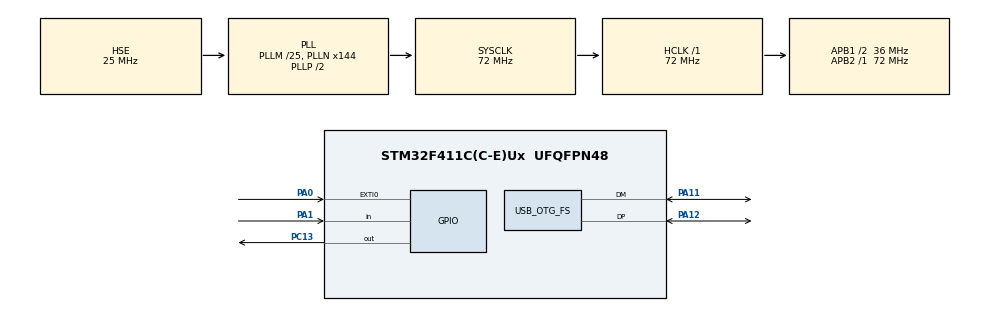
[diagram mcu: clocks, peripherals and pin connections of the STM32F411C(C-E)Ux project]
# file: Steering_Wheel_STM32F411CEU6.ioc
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Mcu.Family=STM32F4
Mcu.Name=STM32F411C(C-E)Ux
Mcu.Package=UFQFPN48
NVIC.EXTI0_IRQn=true\:0\:0\:false\:false\:true\:true\:true\:true
NVIC.OTG_FS_IRQn=true\:0\:0\:false\:false\:true\:false\:true\:true
NVIC.PriorityGroup=NVIC_PRIORITYGROUP_4
PA0-WKUP.GPIO_ModeDefaultEXTI=GPIO_MODE_IT_FALLING
PA0-WKUP.GPIO_PuPd=GPIO_PULLUP
PA0-WKUP.Signal=GPXTI0
PA1.GPIO_PuPd=GPIO_PULLUP
PA1.Signal=GPIO_Input
PA11.Mode=Device_Only
PA11.Signal=USB_OTG_FS_DM
PA12.Mode=Device_Only
PA12.Signal=USB_OTG_FS_DP
PC13-ANTI_TAMP.GPIO_PuPd=GPIO_PULLUP
PC13-ANTI_TAMP.PinState=GPIO_PIN_SET
PC13-ANTI_TAMP.Signal=GPIO_Output
PH0\ -\ OSC_IN.Mode=HSE-External-Oscillator
PH0\ -\ OSC_IN.Signal=RCC_OSC_IN
PH1\ -\ OSC_OUT.Mode=HSE-External-Oscillator
PH1\ -\ OSC_OUT.Signal=RCC_OSC_OUT
ProjectManager.HeapSize=0x200
ProjectManager.StackSize=0x400
ProjectManager.TargetToolchain=STM32CubeIDE
RCC.48MHZClocksFreq_Value=48000000
RCC.AHBFreq_Value=72000000
RCC.APB1CLKDivider=RCC_HCLK_DIV2
RCC.APB1Freq_Value=36000000
RCC.APB1TimFreq_Value=72000000
RCC.APB2Freq_Value=72000000
RCC.APB2TimFreq_Value=72000000
RCC.CortexFreq_Value=72000000
RCC.HCLKFreq_Value=72000000
RCC.HSE_VALUE=25000000
RCC.HSI_VALUE=16000000
RCC.LSE_VALUE=32768
RCC.PLLM=25
RCC.PLLN=144
RCC.PLLQ=3
RCC.SYSCLKFreq_VALUE=72000000
RCC.SYSCLKSource=RCC_SYSCLKSOURCE_PLLCLK
RCC.VCOOutputFreq_Value=144000000
USB_DEVICE.CLASS_NAME_FS=HID
USB_DEVICE.USBD_MAX_STR_DESC_SIZ=512
USB_DEVICE.VirtualMode=Hid
USB_DEVICE.VirtualModeFS=Hid_FS
USB_OTG_FS.VirtualMode=Device_Only
VP_USB_DEVICE_VS_USB_DEVICE_HID_FS.Mode=HID_FS
board=custom

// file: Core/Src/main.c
/* USER CODE BEGIN Header */
/**
  ******************************************************************************
  * @file           : main.c
  * @brief          : Main program body
  ******************************************************************************
  * @attention
  *
  * Copyright (c) 2025 STMicroelectronics.
  * All rights reserved.
  *
  * This software is licensed under terms that can be found in the LICENSE file
  * in the root directory of this software component.
  * If no LICENSE file comes with this software, it is provided AS-IS.
  *
  ******************************************************************************
  */

/* USER CODE END Header */
#include "main.h"
#include "usb_device.h"
#include "gpio.h"

/* USER CODE BEGIN Includes */
#include <stdio.h>
#include <string.h>
#include "core_cm4.h"
extern USBD_HandleTypeDef hUsbDeviceFS;

/* USER CODE END Includes */

void SystemClock_Config(void);
/* USER CODE BEGIN PFP */
int counter =0;
uint16_t debounce = 5;
char c[8];
int8_t wheel_centre = 125;
int8_t last_wheel_position = 125;
int8_t report[2];

/* USER CODE END PFP */

int main(void)
{

  /* USER CODE BEGIN 1 */
  RotateWheel(wheel_centre, 0);

  /* USER CODE END 1 */

  /* MCU Configuration--------------------------------------------------------*/

  /* Reset of all peripherals, Initializes the Flash interface and the Systick. */
  HAL_Init();

  /* Configure the system clock */
  SystemClock_Config();

  /* Initialize all configured peripherals */
  MX_GPIO_Init();
  MX_USB_DEVICE_Init();

  /* Infinite loop */
  /* USER CODE BEGIN WHILE */
  while (1)
  {

	  RotateWheel(wheel_centre, 0);

    /* USER CODE END WHILE */

  }
}

void SystemClock_Config(void)
{
  RCC_OscInitTypeDef RCC_OscInitStruct = {0};
  RCC_ClkInitTypeDef RCC_ClkInitStruct = {0};

  /** Configure the main internal regulator output voltage
  */
  __HAL_RCC_PWR_CLK_ENABLE();
  __HAL_PWR_VOLTAGESCALING_CONFIG(PWR_REGULATOR_VOLTAGE_SCALE1);

  /** Initializes the RCC Oscillators according to the specified parameters
  * in the RCC_OscInitTypeDef structure.
  */
  RCC_OscInitStruct.OscillatorType = RCC_OSCILLATORTYPE_HSE;
  RCC_OscInitStruct.HSEState = RCC_HSE_ON;
  RCC_OscInitStruct.PLL.PLLState = RCC_PLL_ON;
  RCC_OscInitStruct.PLL.PLLSource = RCC_PLLSOURCE_HSE;
  RCC_OscInitStruct.PLL.PLLM = 25;
  RCC_OscInitStruct.PLL.PLLN = 144;
  RCC_OscInitStruct.PLL.PLLP = RCC_PLLP_DIV2;
  RCC_OscInitStruct.PLL.PLLQ = 3;
  if (HAL_RCC_OscConfig(&RCC_OscInitStruct) != HAL_OK)
  {
    Error_Handler();
  }

  /** Initializes the CPU, AHB and APB buses clocks
  */
  RCC_ClkInitStruct.ClockType = RCC_CLOCKTYPE_HCLK|RCC_CLOCKTYPE_SYSCLK
                              |RCC_CLOCKTYPE_PCLK1|RCC_CLOCKTYPE_PCLK2;
  RCC_ClkInitStruct.SYSCLKSource = RCC_SYSCLKSOURCE_PLLCLK;
  RCC_ClkInitStruct.AHBCLKDivider = RCC_SYSCLK_DIV1;
  RCC_ClkInitStruct.APB1CLKDivider = RCC_HCLK_DIV2;
  RCC_ClkInitStruct.APB2CLKDivider = RCC_HCLK_DIV1;

  if (HAL_RCC_ClockConfig(&RCC_ClkInitStruct, FLASH_LATENCY_2) != HAL_OK)
  {
    Error_Handler();
  }
}

/* USER CODE BEGIN 4 */
void RotateWheel(int8_t positionx, int8_t positiony){

        report[0] = positionx;
        report[1] = positiony;
        USBD_HID_SendReport(&hUsbDeviceFS, report, 2);
        HAL_GPIO_WritePin(GPIOC, GPIO_PIN_13, 0);

}
void Counter(){
	uint8_t B = HAL_GPIO_ReadPin(GPIOA, GPIO_PIN_1);

	if(B==1){
		//counter++;
		//HAL_GPIO_WritePin(GPIOC, GPIO_PIN_13, 1);
		wheel_centre+=5;

	}else {
		//counter--;
		//HAL_GPIO_WritePin(GPIOC, GPIO_PIN_13, 0);
		wheel_centre-=5;

	}
    //if (counter == 20) {
        //counter = 0;

    //}else if (counter == -20) {
        //counter = 0;

   if (wheel_centre > 120) wheel_centre = 120;
   if (wheel_centre < -120) wheel_centre = -120;

	/*
	if(counter==1) {
		//ful rotatation
			  	counter=0;
			  	HAL_GPIO_WritePin(GPIOC, GPIO_PIN_13, 0);

	} else if(counter==-1) {
		counter=0;
		HAL_GPIO_WritePin(GPIOC, GPIO_PIN_13, 1);
	}
	*/

}

//PA0 interrupt function

void HAL_GPIO_EXTI_Callback(uint16_t GPIO_Pin) {
	static uint16_t last = 0;

	if(GPIO_Pin == GPIO_PIN_0){
		uint16_t current_time = HAL_GetTick();
		if((current_time - last)>debounce){
				Counter();
			}
			last=current_time;
}

}
/* USER CODE END 4 */

void Error_Handler(void)
{
  __disable_irq();
  while (1)
  {
  }
}
